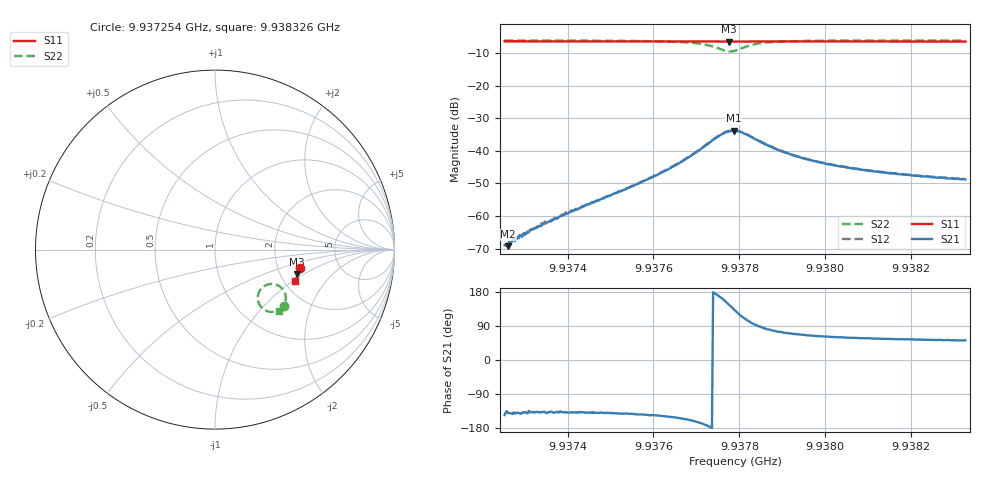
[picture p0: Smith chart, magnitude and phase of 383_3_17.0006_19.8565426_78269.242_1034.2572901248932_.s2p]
#  HZ  S  RI  R  50.00
! Rohde & Schwarz Vector Network Analyzer
! Rohde-Schwarz,ZNB20-2Port,1311601062101988,3.16
! Created: UTC 3/20/2024, 11:09:14 PM
! freq[Hz]  re:S11  im:S11  re:S21  im:S21  re:S12  im:S12  re:S22  im:S22
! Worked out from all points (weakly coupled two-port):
!   401 points, 9.937254 GHz to 9.938326 GHz, reference 50 ohm
!   highest |S21| = -33.80 dB at 9.937787 GHz (marker M1); lowest = -69.3 dB at 9.937262 GHz (marker M2)
!   lowest |S11| = -6.4 dB at 9.937776 GHz (marker M3), VSWR 2.84, Z = 123 - j44.3 ohm
!   |S11| at or under -10 dB: nowhere
!   |S22| runs from -9.4 to -6.1 dB; largest |S21 - S12| = 0.0008
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9.9372535e9  0.4721 -0.1053  -0.000292 -0.000204  -0.000288 -0.000193  0.3869 -0.3134
9.9372616e9  0.472 -0.1057  -0.000265 -0.000219  -0.000278 -0.000229  0.3865 -0.3141
9.9372857e9  0.4715 -0.1074  -0.000358 -0.000299  -0.000359 -0.000316  0.3846 -0.3158
9.9373179e9  0.471 -0.1096  -0.000459 -0.000417  -0.000465 -0.000427  0.3824 -0.3183
9.937342e9  0.4703 -0.1112  -0.000551 -0.000512  -0.000579 -0.000488  0.3805 -0.32
9.9373554e9  0.47 -0.112  -0.000598 -0.000548  -0.000601 -0.000526  0.3794 -0.3208
9.9374332e9  0.4684 -0.1173  -0.00101 -0.000913  -0.00105 -0.00092  0.3719 -0.327
9.937519e9  0.4665 -0.1229  -0.00184 -0.00148  -0.00188 -0.00146  0.3609 -0.3346
9.9376128e9  0.4642 -0.1293  -0.0037 -0.00242  -0.00382 -0.00239  0.34 -0.3439
9.9376665e9  0.4627 -0.133  -0.00623 -0.00295  -0.00638 -0.00294  0.3171 -0.3475
9.9377201e9  0.4608 -0.1365  -0.0119 -0.00194  -0.012 -0.00172  0.2723 -0.3338
9.9377576e9  0.4592 -0.1382  -0.0172 0.00488  -0.0173 0.00541  0.2385 -0.274
9.9377764e9  0.4586 -0.1385  -0.0164 0.0113  -0.0164 0.0121  0.2526 -0.224
9.9377871e9  0.4586 -0.1388  -0.014 0.0149  -0.0139 0.0154  0.2765 -0.2024
9.9377898e9  0.4586 -0.139  -0.0132 0.0154  -0.0131 0.016  0.2836 -0.1986
9.9378113e9  0.4589 -0.1399  -0.00634 0.0173  -0.00597 0.0177  0.3394 -0.1948
9.9378461e9  0.4589 -0.1425  0.000431 0.014  0.000629 0.0142  0.3848 -0.2317
9.9379105e9  0.4578 -0.1471  0.00297 0.00887  0.0032 0.00874  0.3939 -0.2804
9.9379695e9  0.4564 -0.1513  0.00308 0.0064  0.00326 0.0064  0.3885 -0.3014
9.938066e9  0.4539 -0.1574  0.0028 0.00457  0.00293 0.00456  0.3788 -0.3199
9.9381491e9  0.4517 -0.1631  0.00255 0.00374  0.00269 0.00374  0.3716 -0.3296
9.9383261e9  0.4467 -0.1742  0.00226 0.00286  0.00234 0.00283  0.3587 -0.3441
